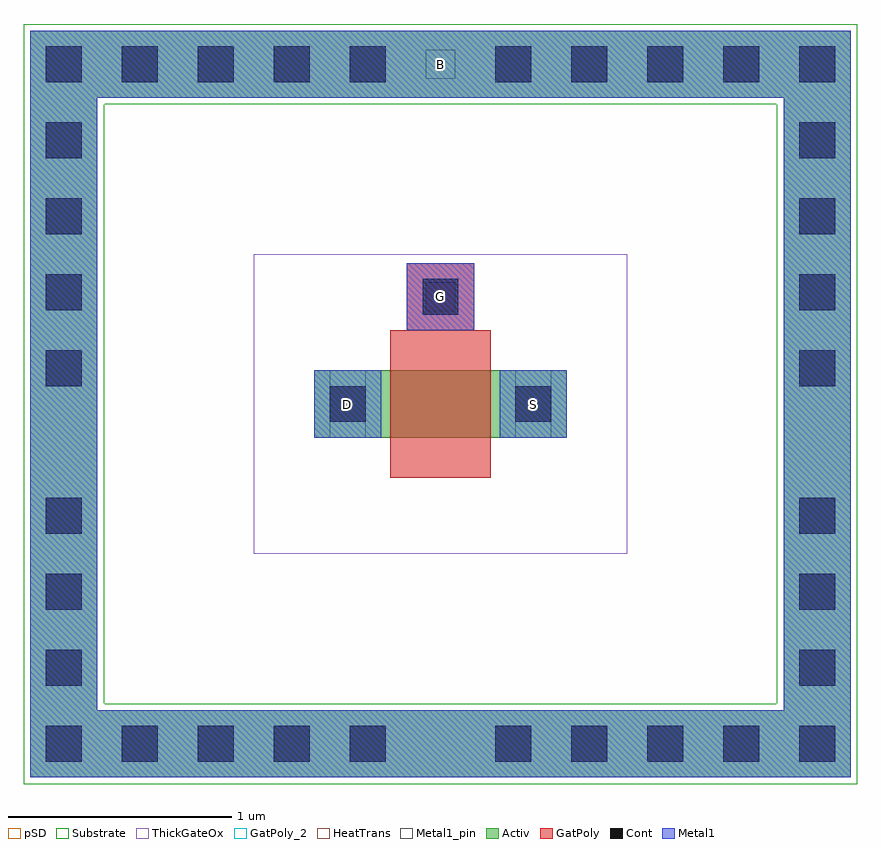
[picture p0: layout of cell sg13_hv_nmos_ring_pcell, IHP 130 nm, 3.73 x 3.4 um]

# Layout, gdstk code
from math import pi, radians
import gdstk
lib = gdstk.Library(unit=1e-6, precision=1e-09)
def R(c, l, rs):  # rectangles x0, y0, x1, y1
    for r in rs: c.add(gdstk.rectangle(r[:2], r[2:], *l))
def A(c, l, x, y, w, h, nx, ny, dx, dy):  # array of equal rectangles
    R(c, l, [(x+i*dx, y+j*dy, x+i*dx+w, y+j*dy+h) for i in range(nx) for j in range(ny)])
def P(c, l, *ps):  # polygons
    for p in ps: c.add(gdstk.Polygon(p, *l))
Activ = (1, 0)
GatPoly = (5, 0)
GatPoly_2 = (5, 2)
Cont = (6, 0)
Metal1 = (8, 0)
Metal1_pin = (8, 2)
pSD = (14, 0)
Substrate = (40, 0)
ThickGateOx = (44, 0)
HeatTrans = (51, 0)

nmoshv = lib.new_cell('nmosHV')
R(nmoshv, Activ, [(0,0,0.3,0.3), (0,0,1.13,0.3), (0.83,0,1.13,0.3)])
R(nmoshv, GatPoly, [(0.34,-0.18,0.79,0.48)])
R(nmoshv, GatPoly_2, [(0.34,-0.18,0.79,0.48)])
R(nmoshv, Cont, [(0.07,0.07,0.23,0.23), (0.9,0.07,1.06,0.23)])
R(nmoshv, Metal1, [(0.07,0,0.23,0.3), (0.9,0,1.06,0.3)])
R(nmoshv, Metal1_pin, [(0.07,0,0.23,0.3), (0.9,0,1.06,0.3)])
R(nmoshv, ThickGateOx, [(-0.27,-0.52,1.4,0.82)])
R(nmoshv, HeatTrans, [(0.34,-0.18,0.79,0.48)])
nmoshv.add(gdstk.Label('nmosHV', (0.565,0.15), layer=63, texttype=0))
nmoshv.add(gdstk.Label('nmosHV', (0.565,0.15), layer=51, texttype=0))

via = lib.new_cell('Via')
R(via, GatPoly, [(-0.15,-0.15,0.15,0.15)])
R(via, Cont, [(-0.08,-0.08,0.08,0.08)])
R(via, Metal1, [(-0.13,-0.08,0.13,0.08)])

guard_ring = lib.new_cell('guard_ring')
R(guard_ring, Activ, [(-1.67,-1.535,-1.37,1.535), (1.37,-1.535,1.67,1.535), (-1.67,1.535,1.67,1.835)])
P(guard_ring, Activ, [(-1.67,-1.835),(-1.67,1.535),(-1.37,1.535),(-1.37,-1.535),(1.37,-1.535),(1.37,1.535),(-1.67,1.535),(-1.67,1.835),(1.67,1.835),(1.67,-1.835)])
A(guard_ring, Cont, -1.6, -1.765, 0.16, 0.16, 4, 2, 0.34, 3.37)
A(guard_ring, Cont, 0.08, -1.765, 0.16, 0.16, 5, 2, 0.34, 3.37)
A(guard_ring, Cont, -1.6, -1.425, 0.16, 0.16, 1, 4, 0, 0.34)
A(guard_ring, Cont, 1.44, -1.425, 0.16, 0.16, 1, 4, 0, 0.34)
A(guard_ring, Cont, -1.6, 0.245, 0.16, 0.16, 1, 4, 0, 0.34)
A(guard_ring, Cont, 1.44, 0.245, 0.16, 0.16, 1, 4, 0, 0.34)
R(guard_ring, Metal1, [(-1.67,-1.835,1.67,-1.535), (-1.67,-1.535,-1.37,1.535), (1.37,-1.535,1.67,1.535), (-1.67,1.535,1.67,1.835)])
R(guard_ring, pSD, [(-1.7,-1.505,-1.34,1.505), (1.34,-1.505,1.7,1.505), (-1.7,1.505,1.7,1.865)])
P(guard_ring, pSD, [(-1.7,-1.865),(-1.7,1.505),(-1.34,1.505),(-1.34,-1.505),(1.34,-1.505),(1.34,1.505),(-1.7,1.505),(-1.7,1.865),(1.7,1.865),(1.7,-1.865)])
R(guard_ring, Substrate, [(-1.7,-1.505,-1.34,1.505), (1.34,-1.505,1.7,1.505), (-1.7,1.505,1.7,1.865)])
P(guard_ring, Substrate, [(-1.7,-1.865),(-1.7,1.505),(-1.34,1.505),(-1.34,-1.505),(1.34,-1.505),(1.34,1.505),(-1.7,1.505),(-1.7,1.865),(1.7,1.865),(1.7,-1.865)])
guard_ring.add(gdstk.Label('sub!', (0,-1.685), layer=63, texttype=0))

sg13_hv_nmos_ring_pcell = lib.new_cell('sg13_hv_nmos_ring_pcell')
R(sg13_hv_nmos_ring_pcell, Metal1, [(0.27,0.82,0.57,1.12), (1.1,0.82,1.4,1.12), (0.685,1.3,0.985,1.6)])
R(sg13_hv_nmos_ring_pcell, Metal1_pin, [(0.355,0.905,0.485,1.035), (1.185,0.905,1.315,1.035), (0.77,1.385,0.9,1.515), (0.77,2.425,0.9,2.555)])
sg13_hv_nmos_ring_pcell.add(gdstk.Reference(nmoshv, (1.4,1.12), rotation=pi))
sg13_hv_nmos_ring_pcell.add(gdstk.Reference(via, (0.835,1.45), rotation=3*pi/2))
sg13_hv_nmos_ring_pcell.add(gdstk.Reference(guard_ring, (0.835,0.97), rotation=pi/2))
sg13_hv_nmos_ring_pcell.add(gdstk.Label('B', (0.835,2.49), layer=8, texttype=25))
sg13_hv_nmos_ring_pcell.add(gdstk.Label('D', (0.42,0.97), layer=8, texttype=25))
sg13_hv_nmos_ring_pcell.add(gdstk.Label('S', (1.25,0.97), layer=8, texttype=25))
sg13_hv_nmos_ring_pcell.add(gdstk.Label('G', (0.835,1.45), layer=8, texttype=25))

lib.write_gds('sg13_hv_nmos_ring_pcell.gds')
